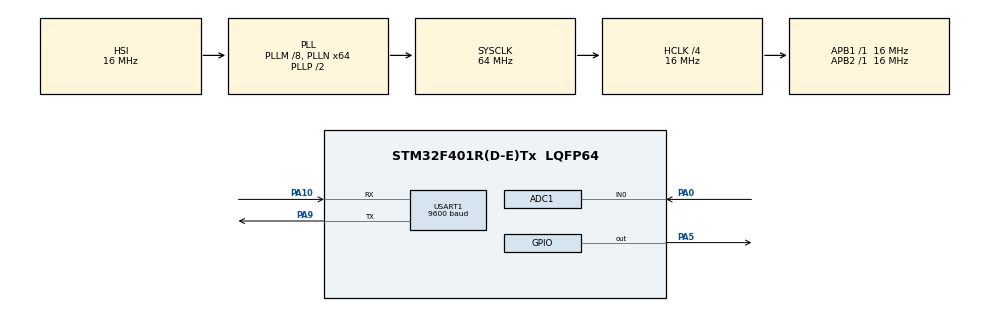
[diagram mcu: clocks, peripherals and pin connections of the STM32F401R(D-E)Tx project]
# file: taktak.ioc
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ADC1.Channel-3\#ChannelRegularConversion=ADC_CHANNEL_0
ADC1.ContinuousConvMode=ENABLE
ADC1.EOCSelection=ADC_EOC_SEQ_CONV
ADC1.NbrOfConversionFlag=1
ADC1.Rank-3\#ChannelRegularConversion=1
ADC1.Resolution=ADC_RESOLUTION_10B
ADC1.SamplingTime-3\#ChannelRegularConversion=ADC_SAMPLETIME_3CYCLES
ADC1.master=1
Mcu.Family=STM32F4
Mcu.Name=STM32F401R(D-E)Tx
Mcu.Package=LQFP64
NVIC.PriorityGroup=NVIC_PRIORITYGROUP_4
NVIC.TIM1_UP_TIM10_IRQn=true\:0\:0\:false\:false\:true\:true\:true\:true
NVIC.USART1_IRQn=true\:0\:0\:false\:false\:true\:true\:true\:true
PA0-WKUP.Signal=ADCx_IN0
PA10.Mode=Asynchronous
PA10.Signal=USART1_RX
PA5.Signal=GPIO_Output
PA9.Mode=Asynchronous
PA9.Signal=USART1_TX
ProjectManager.HeapSize=0x200
ProjectManager.StackSize=0x400
ProjectManager.TargetToolchain=STM32CubeIDE
RCC.48MHZClocksFreq_Value=32000000
RCC.AHBCLKDivider=RCC_SYSCLK_DIV4
RCC.AHBFreq_Value=16000000
RCC.APB1Freq_Value=16000000
RCC.APB1TimFreq_Value=16000000
RCC.APB2Freq_Value=16000000
RCC.APB2TimFreq_Value=16000000
RCC.CortexFreq_Value=16000000
RCC.HCLKFreq_Value=16000000
RCC.HSE_VALUE=25000000
RCC.HSI_VALUE=16000000
RCC.LSE_VALUE=32768
RCC.PLLM=8
RCC.PLLN=64
RCC.SYSCLKFreq_VALUE=64000000
RCC.SYSCLKSource=RCC_SYSCLKSOURCE_PLLCLK
RCC.VCOOutputFreq_Value=128000000
SH.ADCx_IN0.0=ADC1_IN0,IN0
TIM1.Period=1000
TIM1.Prescaler=16000
USART1.BaudRate=9600
USART1.VirtualMode=VM_ASYNC
VP_TIM1_VS_ClockSourceINT.Mode=Internal
board=custom

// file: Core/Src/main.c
/* USER CODE BEGIN Header */
/**
  ******************************************************************************
  * @file           : main.c
  * @brief          : Main program body
  ******************************************************************************
  * @attention
  *
  * Copyright (c) 2023 STMicroelectronics.
  * All rights reserved.
  *
  * This software is licensed under terms that can be found in the LICENSE file
  * in the root directory of this software component.
  * If no LICENSE file comes with this software, it is provided AS-IS.
  *
  ******************************************************************************
  */
/* USER CODE END Header */
#include "main.h"

/* USER CODE BEGIN Includes */
#include "stm32f4xx_hal.h"

/* USER CODE END Includes */

ADC_HandleTypeDef hadc1;

TIM_HandleTypeDef htim1;

UART_HandleTypeDef huart1;

/* USER CODE BEGIN PV */
uint8_t UART_BUFFER [4];
uint32_t adcValue;
const char *TX_BUFFER = "THERE IS SMOKE !";

/* USER CODE END PV */

void SystemClock_Config(void);
static void MX_GPIO_Init(void);
static void MX_USART1_UART_Init(void);
static void MX_ADC1_Init(void);
static void MX_TIM1_Init(void);

int main(void)
{

  /* MCU Configuration--------------------------------------------------------*/

  /* Reset of all peripherals, Initializes the Flash interface and the Systick. */
  HAL_Init();

  /* Configure the system clock */
  SystemClock_Config();

  /* Initialize all configured peripherals */
  MX_GPIO_Init();
  MX_USART1_UART_Init();
  MX_ADC1_Init();
  MX_TIM1_Init();
  /* USER CODE BEGIN 2 */

  HAL_UART_Receive_IT(&huart1,UART_BUFFER, 1);
  HAL_ADC_Start(&hadc1);
  HAL_TIM_Base_Start_IT(&htim1);

  /* USER CODE END 2 */

  /* Infinite loop */
  while (1)
  {

  }
}

void SystemClock_Config(void)
{
  RCC_OscInitTypeDef RCC_OscInitStruct = {0};
  RCC_ClkInitTypeDef RCC_ClkInitStruct = {0};

  /** Configure the main internal regulator output voltage
  */
  __HAL_RCC_PWR_CLK_ENABLE();
  __HAL_PWR_VOLTAGESCALING_CONFIG(PWR_REGULATOR_VOLTAGE_SCALE2);

  /** Initializes the RCC Oscillators according to the specified parameters
  * in the RCC_OscInitTypeDef structure.
  */
  RCC_OscInitStruct.OscillatorType = RCC_OSCILLATORTYPE_HSI;
  RCC_OscInitStruct.HSIState = RCC_HSI_ON;
  RCC_OscInitStruct.HSICalibrationValue = RCC_HSICALIBRATION_DEFAULT;
  RCC_OscInitStruct.PLL.PLLState = RCC_PLL_ON;
  RCC_OscInitStruct.PLL.PLLSource = RCC_PLLSOURCE_HSI;
  RCC_OscInitStruct.PLL.PLLM = 8;
  RCC_OscInitStruct.PLL.PLLN = 64;
  RCC_OscInitStruct.PLL.PLLP = RCC_PLLP_DIV2;
  RCC_OscInitStruct.PLL.PLLQ = 4;
  if (HAL_RCC_OscConfig(&RCC_OscInitStruct) != HAL_OK)
  {
    Error_Handler();
  }

  /** Initializes the CPU, AHB and APB buses clocks
  */
  RCC_ClkInitStruct.ClockType = RCC_CLOCKTYPE_HCLK|RCC_CLOCKTYPE_SYSCLK
                              |RCC_CLOCKTYPE_PCLK1|RCC_CLOCKTYPE_PCLK2;
  RCC_ClkInitStruct.SYSCLKSource = RCC_SYSCLKSOURCE_PLLCLK;
  RCC_ClkInitStruct.AHBCLKDivider = RCC_SYSCLK_DIV4;
  RCC_ClkInitStruct.APB1CLKDivider = RCC_HCLK_DIV1;
  RCC_ClkInitStruct.APB2CLKDivider = RCC_HCLK_DIV1;

  if (HAL_RCC_ClockConfig(&RCC_ClkInitStruct, FLASH_LATENCY_0) != HAL_OK)
  {
    Error_Handler();
  }
}

static void MX_ADC1_Init(void)
{

  ADC_ChannelConfTypeDef sConfig = {0};

  /** Configure the global features of the ADC (Clock, Resolution, Data Alignment and number of conversion)
  */
  hadc1.Instance = ADC1;
  hadc1.Init.ClockPrescaler = ADC_CLOCK_SYNC_PCLK_DIV2;
  hadc1.Init.Resolution = ADC_RESOLUTION_10B;
  hadc1.Init.ScanConvMode = DISABLE;
  hadc1.Init.ContinuousConvMode = ENABLE;
  hadc1.Init.DiscontinuousConvMode = DISABLE;
  hadc1.Init.ExternalTrigConvEdge = ADC_EXTERNALTRIGCONVEDGE_NONE;
  hadc1.Init.ExternalTrigConv = ADC_SOFTWARE_START;
  hadc1.Init.DataAlign = ADC_DATAALIGN_RIGHT;
  hadc1.Init.NbrOfConversion = 1;
  hadc1.Init.DMAContinuousRequests = DISABLE;
  hadc1.Init.EOCSelection = ADC_EOC_SEQ_CONV;
  if (HAL_ADC_Init(&hadc1) != HAL_OK)
  {
    Error_Handler();
  }

  /** Configure for the selected ADC regular channel its corresponding rank in the sequencer and its sample time.
  */
  sConfig.Channel = ADC_CHANNEL_0;
  sConfig.Rank = 1;
  sConfig.SamplingTime = ADC_SAMPLETIME_3CYCLES;
  if (HAL_ADC_ConfigChannel(&hadc1, &sConfig) != HAL_OK)
  {
    Error_Handler();
  }

}

static void MX_TIM1_Init(void)
{

  TIM_ClockConfigTypeDef sClockSourceConfig = {0};
  TIM_MasterConfigTypeDef sMasterConfig = {0};

  htim1.Instance = TIM1;
  htim1.Init.Prescaler = 16000;
  htim1.Init.CounterMode = TIM_COUNTERMODE_UP;
  htim1.Init.Period = 1000;
  htim1.Init.ClockDivision = TIM_CLOCKDIVISION_DIV1;
  htim1.Init.RepetitionCounter = 0;
  htim1.Init.AutoReloadPreload = TIM_AUTORELOAD_PRELOAD_DISABLE;
  if (HAL_TIM_Base_Init(&htim1) != HAL_OK)
  {
    Error_Handler();
  }
  sClockSourceConfig.ClockSource = TIM_CLOCKSOURCE_INTERNAL;
  if (HAL_TIM_ConfigClockSource(&htim1, &sClockSourceConfig) != HAL_OK)
  {
    Error_Handler();
  }
  sMasterConfig.MasterOutputTrigger = TIM_TRGO_RESET;
  sMasterConfig.MasterSlaveMode = TIM_MASTERSLAVEMODE_DISABLE;
  if (HAL_TIMEx_MasterConfigSynchronization(&htim1, &sMasterConfig) != HAL_OK)
  {
    Error_Handler();
  }

}

static void MX_USART1_UART_Init(void)
{

  huart1.Instance = USART1;
  huart1.Init.BaudRate = 9600;
  huart1.Init.WordLength = UART_WORDLENGTH_8B;
  huart1.Init.StopBits = UART_STOPBITS_1;
  huart1.Init.Parity = UART_PARITY_NONE;
  huart1.Init.Mode = UART_MODE_TX_RX;
  huart1.Init.HwFlowCtl = UART_HWCONTROL_NONE;
  huart1.Init.OverSampling = UART_OVERSAMPLING_16;
  if (HAL_UART_Init(&huart1) != HAL_OK)
  {
    Error_Handler();
  }

}

static void MX_GPIO_Init(void)
{
  GPIO_InitTypeDef GPIO_InitStruct = {0};

  /* GPIO Ports Clock Enable */
  __HAL_RCC_GPIOA_CLK_ENABLE();

  /*Configure GPIO pin Output Level */
  HAL_GPIO_WritePin(GPIOA, GPIO_PIN_5, GPIO_PIN_RESET);

  /*Configure GPIO pin : PA5 */
  GPIO_InitStruct.Pin = GPIO_PIN_5;
  GPIO_InitStruct.Mode = GPIO_MODE_OUTPUT_PP;
  GPIO_InitStruct.Pull = GPIO_NOPULL;
  GPIO_InitStruct.Speed = GPIO_SPEED_FREQ_LOW;
  HAL_GPIO_Init(GPIOA, &GPIO_InitStruct);

}

/* USER CODE BEGIN 4 */
void HAL_UART_RxCpltCallback(UART_HandleTypeDef *huart){

	if( UART_BUFFER[0] == 'Y')
	  {
	      HAL_GPIO_WritePin(GPIOA, GPIO_PIN_5, GPIO_PIN_SET);

	  }
	  if(UART_BUFFER[0] == 'N')
	  {
	      HAL_GPIO_WritePin(GPIOA, GPIO_PIN_5, GPIO_PIN_RESET);

	  }

	  HAL_UART_Receive_IT(&huart1, UART_BUFFER,1);

}

void HAL_TIM_PeriodElapsedCallback(TIM_HandleTypeDef *htim){

	adcValue = HAL_ADC_GetValue(&hadc1);
	if(adcValue>300){
		HAL_UART_Transmit(&huart1, TX_BUFFER,16,1000);
	}
}

/* USER CODE END 4 */

void Error_Handler(void)
{
  __disable_irq();
  while (1)
  {
  }
}
